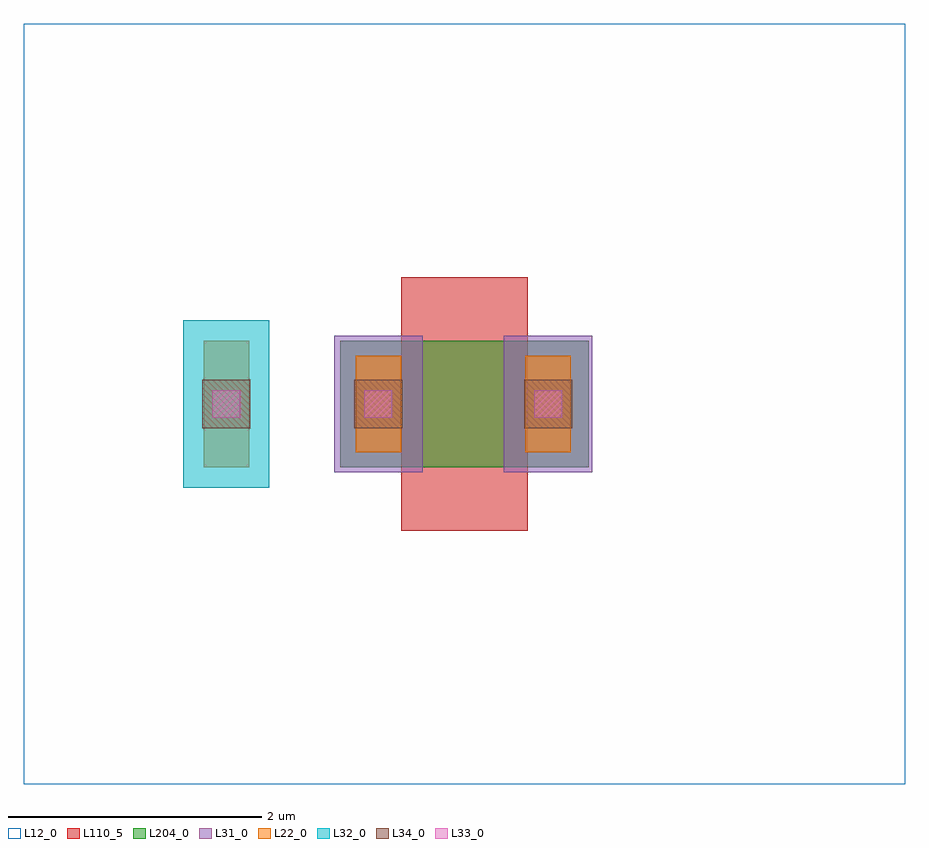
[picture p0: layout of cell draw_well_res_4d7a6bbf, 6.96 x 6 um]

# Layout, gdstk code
import gdstk
lib = gdstk.Library(unit=1e-6, precision=1e-09)
def R(c, l, rs):  # rectangles x0, y0, x1, y1
    for r in rs: c.add(gdstk.rectangle(r[:2], r[2:], *l))
L12_0 = (12, 0)
L22_0 = (22, 0)
L31_0 = (31, 0)
L32_0 = (32, 0)
L33_0 = (33, 0)
L34_0 = (34, 0)
L110_5 = (110, 5)
L204_0 = (204, 0)

draw_well_res_4d7a6bbf = lib.new_cell('draw_well_res_4d7a6bbf')
R(draw_well_res_4d7a6bbf, L12_0, [(-2.98,-2,3.98,4)])
R(draw_well_res_4d7a6bbf, L22_0, [(-1.56,0.5,-1.2,1.5), (-0.36,0.62,0,1.38), (0.98,0.62,1.34,1.38)])
R(draw_well_res_4d7a6bbf, L31_0, [(-0.53,0.46,0.17,1.54), (0.81,0.46,1.51,1.54)])
R(draw_well_res_4d7a6bbf, L32_0, [(-1.72,0.34,-1.04,1.66)])
R(draw_well_res_4d7a6bbf, L33_0, [(-1.49,0.89,-1.27,1.11), (-0.29,0.89,-0.07,1.11), (1.05,0.89,1.27,1.11)])
R(draw_well_res_4d7a6bbf, L34_0, [(-1.57,0.81,-1.19,1.19), (-0.37,0.81,0.01,1.19), (0.97,0.81,1.35,1.19)])
R(draw_well_res_4d7a6bbf, L110_5, [(0,0,1,2)])
R(draw_well_res_4d7a6bbf, L204_0, [(-0.48,0.5,1.48,1.5)])

lib.write_gds('draw_well_res_4d7a6bbf.gds')
